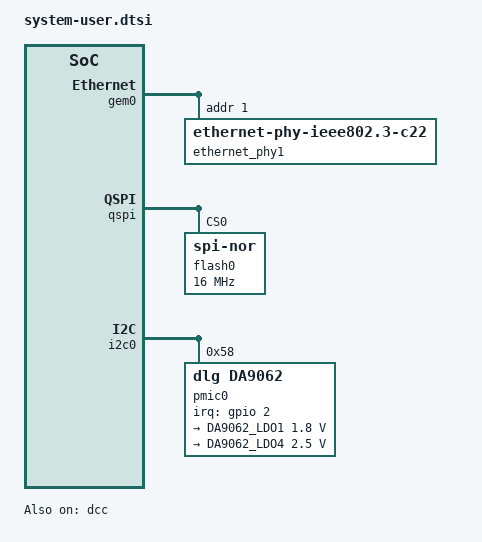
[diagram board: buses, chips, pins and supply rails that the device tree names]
/include/ "system-conf.dtsi"
/ {
   reserved-memory {
     #address-cells = <2>;
     #size-cells = <2>;
     ranges;

     reserved: buffer@0x70000000 {
        no-map;
	reg = <0x0 0x70000000 0x0 0x100000 >;
     };
   };
   reserved-driver@0 {
     compatible = "xlnx,reserved-memory";
     memory-region = <&reserved>;
   };
};



#include "include/dt-bindings/phy/phy.h"
#include "include/dt-bindings/gpio/gpio.h"

&gem0 {
      status = "okay";
      ethernet_phy1: ethernet-phy@1 {
      		     compatible = "ethernet-phy-ieee802.3-c22";		     
		     device_type = "ethernet-phy";
		     reg = <1>;
      };
};

&qspi {
      u-boot,dm-pre-reloc;
      #address-cells = <1>;
      #size-cells = <0>;
      status = "okay";
      num-cs = <1>;
      has-io-mode = <1>;
      flash0: flash@0 {
              compatible = "jedec,spi-nor";
              reg = <0x0>;
              #address-cells = <1>;
              #size-cells = <1>;
              spi-tx-bus-width = <1>;
              spi-rx-bus-width = <1>;
              spi-max-frequency = <16000000>;
      };
};

#include "include/dt-bindings/interrupt-controller/irq.h"

&i2c0 {
     pmic0: da9062@58 {
            compatible = "dlg,da9062";
	    reg = <0x58>;
	    interrupt-parent = <&gpio>;
	    interrupts = <2 IRQ_TYPE_LEVEL_LOW>;
	    interrupt-controller;

	    rtc {
	    	compatible = "dlg,da9062-rtc";
	    };

	    regulators {
	    	       DA9062_LDO1: ldo1 {
		       		    regulator-name = "LDO_1";
				    regulator-min-microvolt = <1800000>;
				    regulator-max-microvolt = <1800000>;
				    regulator-always-on;
		       };
		       DA9062_LDO4: ldo4 {
		       		    regulator-name = "LDO_4";
				    regulator-min-microvolt = <2500000>;
				    regulator-max-microvolt = <2500000>;
				    regulator-always-on;
		       };
	    };
     };
};

&dcc {
     status = "okay";
};

